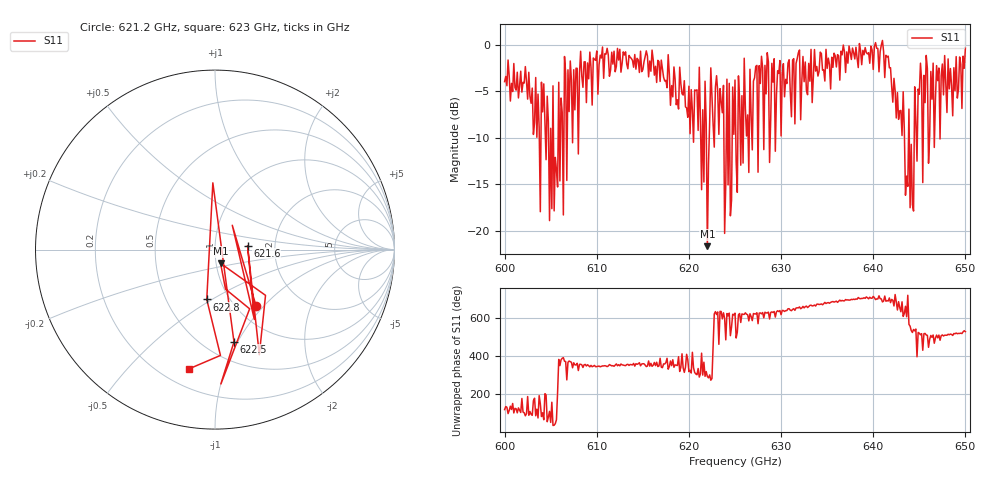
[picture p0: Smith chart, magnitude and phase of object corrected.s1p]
!Created with skrf (http://scikit-rf.org).
# GHz S MA R 50.0
!freq magS11 angS11
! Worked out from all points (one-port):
!   401 points, 600 GHz to 650 GHz, reference 50 ohm
!   lowest |S11| = -21.6 dB at 622 GHz (marker M1), VSWR 1.18, Z = 52.6 - j8.12 ohm
!   |S11| at or under -10 dB: 605.3018 GHz to 605.8088 GHz (507 MHz wide, 0.0837 % of centre); 643.3893 GHz to 643.8287 GHz (439.4 MHz wide, 0.0683 % of centre); 643.9113 GHz to 644.4488 GHz (537.6 MHz wide, 0.0834 % of centre) (the widest 3 of 34)
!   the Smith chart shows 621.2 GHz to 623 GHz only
!   S11 on the Smith chart (normalised r, x): 621.2 GHz: 1.22, -0.91; 621.6 GHz: 1.44, +0.07; 622.5 GHz: 0.68, -0.97; 622.8 GHz: 0.79, -0.47; 623 GHz: 0.31, -0.76
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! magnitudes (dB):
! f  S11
! 600 GHz  -4.0
! 604.2 GHz  -4.2
! 605.1 GHz  -17.6
! 606.2 GHz  -7.3
! 608.5 GHz  -4.6
! 612.5 GHz  -0.5
! 618.8 GHz  -5.9
! 620.9 GHz  -4.9
! 621.2 GHz  -8.2
! 621.6 GHz  -14.8
! 622 GHz  -21.6
! 622.5 GHz  -5.6
! 622.8 GHz  -11.0
! 623 GHz  -3.3
! 623.5 GHz  -6.1
! 624 GHz  -14.9
! 625 GHz  -3.8
! 626.6 GHz  -2.7
! 627.1 GHz  -3.6
! 631.2 GHz  -1.7
! 637.5 GHz  -0.8
! 641.6 GHz  -1.2
! 643.1 GHz  -9.8
! 643.8 GHz  -15.2
! 644.5 GHz  -4.5
! 645 GHz  -5.3
! 649.4 GHz  -1.3
! 650 GHz  -0.4
